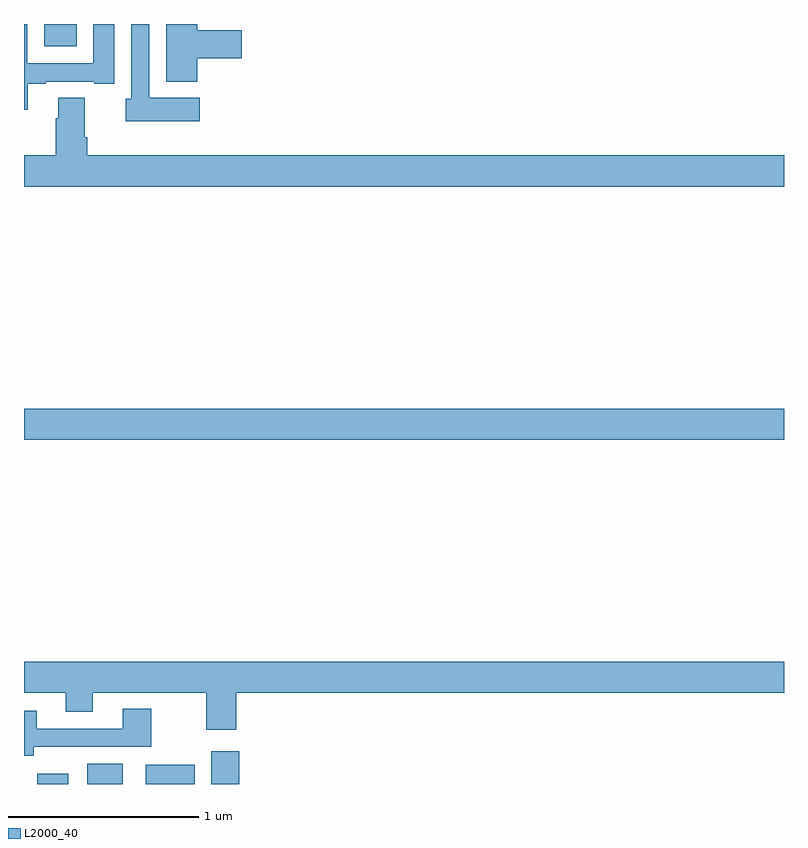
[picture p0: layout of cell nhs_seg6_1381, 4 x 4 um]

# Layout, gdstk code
import gdstk
lib = gdstk.Library(unit=1e-6, precision=1e-09)
def R(c, l, rs):  # rectangles x0, y0, x1, y1
    for r in rs: c.add(gdstk.rectangle(r[:2], r[2:], *l))
def P(c, l, *ps):  # polygons
    for p in ps: c.add(gdstk.Polygon(p, *l))
L2000_40 = (2000, 40)

nhs_seg6_1381 = lib.new_cell('nhs_seg6_1381')
R(nhs_seg6_1381, L2000_40, [(195.071,969.5,195.232,969.553), (195.332,969.5,195.52,969.607), (195.641,969.5,195.898,969.601), (195.986,969.5,196.133,969.673), (195,971.312,199,971.476), (195.107,973.382,195.277,973.5)])
P(nhs_seg6_1381, L2000_40, [(195.911,973.319),(196.147,973.319),(196.147,973.466),(195.911,973.466),(195.911,973.5),(195.749,973.5),(195.749,973.196),(195.911,973.196)],
  [(195.019,973.185),(195.115,973.185),(195.115,973.197),(195.371,973.197),(195.371,973.185),(195.475,973.185),(195.475,973.5),(195.365,973.5),(195.365,973.293),(195.018,973.293),(195.018,973.5),(195,973.5),(195,973.05),(195.019,973.05)],
  [(195.925,973.111),(195.66,973.111),(195.66,973.5),(195.564,973.5),(195.564,973.107),(195.536,973.107),(195.536,972.989),(195.925,972.989)],
  [(199,972.808),(195.332,972.808),(195.332,972.904),(195.319,972.904),(195.319,973.112),(195.179,973.112),(195.179,973.004),(195.167,973.004),(195.167,972.808),(195,972.808),(195,972.644),(199,972.644)],
  [(196.118,969.98),(199,969.98),(199,970.144),(195,970.144),(195,969.98),(195.221,969.98),(195.221,969.881),(195.361,969.881),(195.361,969.98),(195.958,969.98),(195.958,969.786),(196.118,969.786)],
  [(195.052,969.696),(195.669,969.696),(195.669,969.895),(195.521,969.895),(195.521,969.792),(195.067,969.792),(195.067,969.886),(195,969.886),(195,969.65),(195.052,969.65)])

lib.write_gds('nhs_seg6_1381.gds')
